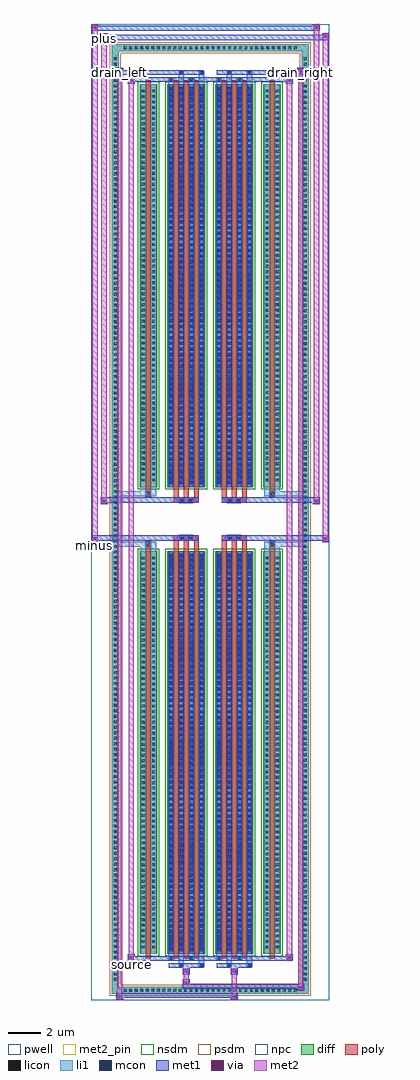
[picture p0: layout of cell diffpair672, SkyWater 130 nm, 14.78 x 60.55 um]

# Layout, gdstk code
import gdstk
lib = gdstk.Library(unit=1e-6, precision=5e-09)
def R(c, l, rs):  # rectangles x0, y0, x1, y1
    for r in rs: c.add(gdstk.rectangle(r[:2], r[2:], *l))
def A(c, l, x, y, w, h, nx, ny, dx, dy):  # array of equal rectangles
    R(c, l, [(x+i*dx, y+j*dy, x+i*dx+w, y+j*dy+h) for i in range(nx) for j in range(ny)])
def P(c, l, *ps):  # polygons
    for p in ps: c.add(gdstk.Polygon(p, *l))
pwell = (64, 44)
diff = (65, 20)
poly = (66, 20)
licon = (66, 44)
li1 = (67, 20)
mcon = (67, 44)
met1 = (68, 20)
via = (68, 44)
met2_pin = (69, 16)
met2 = (69, 20)
nsdm = (93, 44)
psdm = (94, 20)
npc = (95, 20)

diffpair672 = lib.new_cell('diffpair672')
R(diffpair672, pwell, [(-7.37,-29.84,7.37,30.71), (-4.69,-28.03,-0.01,-0.805), (0.01,-28.03,4.69,-0.805), (-4.69,0.805,-0.01,28.03), (0.01,0.805,4.69,28.03)])
A(diffpair672, diff, -5.475, -29.44, 0.41, 0.41, 32, 2, 0.34, 58.47)
A(diffpair672, diff, -6.1, -28.765, 0.41, 0.41, 1, 169, 0, 0.34)
A(diffpair672, diff, 5.69, -28.765, 0.41, 0.41, 1, 169, 0, 0.34)
R(diffpair672, diff, [(-5.475,-29.44,5.475,-29.03), (-6.1,-28.765,-5.69,28.765), (5.69,-28.765,6.1,28.765), (-4.38,-26.985,-3.3,-1.985), (-2.66,-26.985,-0.32,-1.985), (0.32,-26.985,2.66,-1.985), (3.3,-26.985,4.38,-1.985), (-4.38,1.985,-3.3,26.985), (-2.66,1.985,-0.32,26.985), (0.32,1.985,2.66,26.985), (3.3,1.985,4.38,26.985), (-5.475,29.03,5.475,29.44)])
P(diffpair672, diff, [(6.1,29.44),(-6.1,29.44),(-6.1,-29.03),(-5.69,-29.03),(-5.69,29.03),(5.69,29.03),(5.69,-29.03),(-5.69,-29.03),(-6.1,-29.03),(-6.1,-29.44),(6.1,-29.44)])
A(diffpair672, poly, -2.27, -27.235, 0.3, 25.5, 3, 2, 0.63, 28.97)
A(diffpair672, poly, 0.71, -27.235, 0.3, 25.5, 3, 2, 0.63, 28.97)
A(diffpair672, poly, -2.27, -1.735, 0.3, 0.4, 3, 2, 0.63, 3.07)
A(diffpair672, poly, 0.71, -1.735, 0.3, 0.4, 3, 2, 0.63, 3.07)
R(diffpair672, poly, [(-3.99,-27.235,-3.69,-1.735), (3.69,-27.235,3.99,-1.735), (-4.005,-1.735,-3.675,-1.405), (-4.005,-1.735,-3.675,-1.405), (3.675,-1.735,4.005,-1.405), (3.675,-1.735,4.005,-1.405), (-2.27,-1.335,-0.71,-1.005), (-1.905,-1.335,-1.575,-1.005), (-1.405,-1.335,-1.075,-1.005), (0.71,-1.335,2.27,-1.005), (1.075,-1.335,1.405,-1.005), (1.575,-1.335,1.905,-1.005), (-2.27,1.005,-0.71,1.335), (-1.905,1.005,-1.575,1.335), (-1.405,1.005,-1.075,1.335), (0.71,1.005,2.27,1.335), (1.075,1.005,1.405,1.335), (1.575,1.005,1.905,1.335), (-4.005,1.405,-3.675,1.735), (-4.005,1.405,-3.675,1.735), (3.675,1.405,4.005,1.735), (3.675,1.405,4.005,1.735), (-3.99,1.735,-3.69,27.235), (3.69,1.735,3.99,27.235)])
A(diffpair672, licon, -5.355, -29.32, 0.17, 0.17, 32, 2, 0.34, 58.47)
A(diffpair672, licon, -5.98, -28.645, 0.17, 0.17, 1, 169, 0, 0.34)
A(diffpair672, licon, 5.81, -28.645, 0.17, 0.17, 1, 169, 0, 0.34)
A(diffpair672, licon, -4.24, -26.64, 0.17, 0.17, 1, 72, 0, 0.34)
A(diffpair672, licon, -3.61, -26.64, 0.17, 0.17, 1, 72, 0, 0.34)
A(diffpair672, licon, -2.52, -26.64, 0.17, 0.17, 4, 72, 0.63, 0.34)
A(diffpair672, licon, 0.46, -26.64, 0.17, 0.17, 4, 72, 0.63, 0.34)
A(diffpair672, licon, 3.44, -26.64, 0.17, 0.17, 1, 72, 0, 0.34)
A(diffpair672, licon, 4.07, -26.64, 0.17, 0.17, 1, 72, 0, 0.34)
A(diffpair672, licon, -4.24, 2.33, 0.17, 0.17, 1, 72, 0, 0.34)
A(diffpair672, licon, -3.61, 2.33, 0.17, 0.17, 1, 72, 0, 0.34)
A(diffpair672, licon, -2.52, 2.33, 0.17, 0.17, 4, 72, 0.63, 0.34)
A(diffpair672, licon, 0.46, 2.33, 0.17, 0.17, 4, 72, 0.63, 0.34)
A(diffpair672, licon, 3.44, 2.33, 0.17, 0.17, 1, 72, 0, 0.34)
A(diffpair672, licon, 4.07, 2.33, 0.17, 0.17, 1, 72, 0, 0.34)
R(diffpair672, licon, [(-3.925,-1.655,-3.755,-1.485), (3.755,-1.655,3.925,-1.485), (-1.825,-1.255,-1.655,-1.085), (-1.325,-1.255,-1.155,-1.085), (1.155,-1.255,1.325,-1.085), (1.655,-1.255,1.825,-1.085), (-1.825,1.085,-1.655,1.255), (-1.325,1.085,-1.155,1.255), (1.155,1.085,1.325,1.255), (1.655,1.085,1.825,1.255), (-3.925,1.485,-3.755,1.655), (3.755,1.485,3.925,1.655)])
A(diffpair672, li1, -5.435, -29.4, 0.33, 0.33, 32, 2, 0.34, 58.47)
A(diffpair672, li1, -6.06, -28.725, 0.33, 0.33, 1, 169, 0, 0.34)
A(diffpair672, li1, 5.73, -28.725, 0.33, 0.33, 1, 169, 0, 0.34)
A(diffpair672, li1, -2.6, -26.985, 0.33, 25, 4, 2, 0.63, 28.97)
A(diffpair672, li1, 0.38, -26.985, 0.33, 25, 4, 2, 0.63, 28.97)
A(diffpair672, li1, -2.52, -26.81, 0.17, 0.17, 4, 69, 0.63, 0.36)
A(diffpair672, li1, -2.52, -26.81, 0.17, 24.65, 4, 2, 0.63, 28.97)
A(diffpair672, li1, 0.46, -26.81, 0.17, 0.17, 4, 69, 0.63, 0.36)
A(diffpair672, li1, 0.46, -26.81, 0.17, 24.65, 4, 2, 0.63, 28.97)
A(diffpair672, li1, -4.32, -26.72, 0.33, 0.33, 1, 72, 0, 0.34)
A(diffpair672, li1, -3.69, -26.72, 0.33, 0.33, 1, 72, 0, 0.34)
A(diffpair672, li1, -2.6, -26.72, 0.33, 0.33, 4, 72, 0.63, 0.34)
A(diffpair672, li1, 0.38, -26.72, 0.33, 0.33, 4, 72, 0.63, 0.34)
A(diffpair672, li1, 3.36, -26.72, 0.33, 0.33, 1, 72, 0, 0.34)
A(diffpair672, li1, 3.99, -26.72, 0.33, 0.33, 1, 72, 0, 0.34)
A(diffpair672, li1, -2.52, 2.16, 0.17, 0.17, 4, 69, 0.63, 0.36)
A(diffpair672, li1, 0.46, 2.16, 0.17, 0.17, 4, 69, 0.63, 0.36)
A(diffpair672, li1, -4.32, 2.25, 0.33, 0.33, 1, 72, 0, 0.34)
A(diffpair672, li1, -3.69, 2.25, 0.33, 0.33, 1, 72, 0, 0.34)
A(diffpair672, li1, -2.6, 2.25, 0.33, 0.33, 4, 72, 0.63, 0.34)
A(diffpair672, li1, 0.38, 2.25, 0.33, 0.33, 4, 72, 0.63, 0.34)
A(diffpair672, li1, 3.36, 2.25, 0.33, 0.33, 1, 72, 0, 0.34)
A(diffpair672, li1, 3.99, 2.25, 0.33, 0.33, 1, 72, 0, 0.34)
R(diffpair672, li1, [(-6.1,-29.44,-5.69,-29.03), (-6.1,-29.44,-5.69,-29.03), (-5.69,-29.44,5.69,-29.03), (5.69,-29.44,6.1,-29.03), (5.69,-29.44,6.1,-29.03), (-6.1,-29.03,-5.69,29.03), (5.69,-29.03,6.1,29.03), (-1.97,-27.79,-1.64,-26.985), (-1.89,-27.79,-1.72,-27.62), (-0.71,-27.79,-0.38,-26.985), (-0.63,-27.79,-0.46,-27.62), (1.01,-27.79,1.34,-26.985), (1.09,-27.79,1.26,-27.62), (2.27,-27.79,2.6,-26.985), (2.35,-27.79,2.52,-27.62), (-2.6,-27.36,-2.27,-26.985), (-2.52,-27.36,-2.35,-27.19), (-1.34,-27.36,-1.01,-26.985), (-1.26,-27.36,-1.09,-27.19), (0.38,-27.36,0.71,-26.985), (0.46,-27.36,0.63,-27.19), (1.64,-27.36,1.97,-26.985), (1.72,-27.36,1.89,-27.19), (-4.32,-26.985,-3.99,-1.985), (-3.69,-26.985,-3.36,-1.985), (3.36,-26.985,3.69,-1.985), (3.99,-26.985,4.32,-1.985), (-4.32,-1.985,-3.99,-1.405), (-3.69,-1.985,-3.36,-1.405), (3.36,-1.985,3.69,-1.405), (3.99,-1.985,4.32,-1.405), (-6.1,-1.735,-4.005,-1.405), (-4.32,-1.735,-4.005,-1.405), (-4.005,-1.735,-3.675,-1.405), (-3.675,-1.735,-3.36,-1.405), (3.36,-1.735,3.675,-1.405), (3.675,-1.735,4.005,-1.405), (3.675,-1.735,6.1,-1.405), (4.005,-1.735,4.32,-1.405), (-1.905,-1.335,-1.575,-1.005), (-1.405,-1.335,-1.075,-1.005), (1.075,-1.335,1.405,-1.005), (1.575,-1.335,1.905,-1.005), (-1.905,1.005,-1.575,1.335), (-1.405,1.005,-1.075,1.335), (1.075,1.005,1.405,1.335), (1.575,1.005,1.905,1.335), (-6.1,1.405,-4.005,1.735), (-4.32,1.405,-4.005,1.735), (-4.32,1.405,-3.99,1.985), (-4.005,1.405,-3.675,1.735), (-3.69,1.405,-3.36,1.985), (-3.675,1.405,-3.36,1.735), (3.36,1.405,3.675,1.735), (3.36,1.405,3.69,1.985), (3.675,1.405,4.005,1.735), (3.675,1.405,6.1,1.735), (3.99,1.405,4.32,1.985), (4.005,1.405,4.32,1.735), (-4.32,1.985,-3.99,26.985), (-3.69,1.985,-3.36,26.985), (3.36,1.985,3.69,26.985), (3.99,1.985,4.32,26.985), (-2.6,26.985,-2.27,27.36), (-1.97,26.985,-1.64,27.79), (-1.34,26.985,-1.01,27.36), (-0.71,26.985,-0.38,27.79), (0.38,26.985,0.71,27.36), (1.01,26.985,1.34,27.79), (1.64,26.985,1.97,27.36), (2.27,26.985,2.6,27.79), (-2.52,27.19,-2.35,27.36), (-1.26,27.19,-1.09,27.36), (0.46,27.19,0.63,27.36), (1.72,27.19,1.89,27.36), (-1.89,27.62,-1.72,27.79), (-0.63,27.62,-0.46,27.79), (1.09,27.62,1.26,27.79), (2.35,27.62,2.52,27.79), (-6.1,29.03,-5.69,29.44), (-6.1,29.03,-5.69,29.44), (-5.69,29.03,5.69,29.44), (5.69,29.03,6.1,29.44), (5.69,29.03,6.1,29.44)])
A(diffpair672, mcon, -2.52, -26.81, 0.17, 0.17, 4, 69, 0.63, 0.36)
A(diffpair672, mcon, 0.46, -26.81, 0.17, 0.17, 4, 69, 0.63, 0.36)
A(diffpair672, mcon, -2.52, 2.16, 0.17, 0.17, 4, 69, 0.63, 0.36)
A(diffpair672, mcon, 0.46, 2.16, 0.17, 0.17, 4, 69, 0.63, 0.36)
R(diffpair672, mcon, [(-1.89,-27.79,-1.72,-27.62), (-0.63,-27.79,-0.46,-27.62), (1.09,-27.79,1.26,-27.62), (2.35,-27.79,2.52,-27.62), (-2.52,-27.36,-2.35,-27.19), (-1.26,-27.36,-1.09,-27.19), (0.46,-27.36,0.63,-27.19), (1.72,-27.36,1.89,-27.19), (-1.825,-1.255,-1.655,-1.085), (-1.325,-1.255,-1.155,-1.085), (1.155,-1.255,1.325,-1.085), (1.655,-1.255,1.825,-1.085), (-1.825,1.085,-1.655,1.255), (-1.325,1.085,-1.155,1.255), (1.155,1.085,1.325,1.255), (1.655,1.085,1.825,1.255), (-2.52,27.19,-2.35,27.36), (-1.26,27.19,-1.09,27.36), (0.46,27.19,0.63,27.36), (1.72,27.19,1.89,27.36), (-1.89,27.62,-1.72,27.79), (-0.63,27.62,-0.46,27.79), (1.09,27.62,1.26,27.79), (2.35,27.62,2.52,27.79)])
A(diffpair672, met1, -2.58, -26.985, 0.29, 25, 4, 2, 0.63, 28.97)
A(diffpair672, met1, 0.4, -26.985, 0.29, 25, 4, 2, 0.63, 28.97)
A(diffpair672, met1, -2.58, -26.87, 0.29, 0.29, 4, 69, 0.63, 0.36)
A(diffpair672, met1, 0.4, -26.87, 0.29, 0.29, 4, 69, 0.63, 0.36)
A(diffpair672, met1, -2.58, 2.1, 0.29, 0.29, 4, 69, 0.63, 0.36)
A(diffpair672, met1, 0.4, 2.1, 0.29, 0.29, 4, 69, 0.63, 0.36)
R(diffpair672, met1, [(-5.83,-29.84,-5.4,-29.41), (1.275,-29.84,1.705,-29.41), (-5.83,-29.7,1.705,-29.41), (5.4,-29.27,5.83,-28.84), (-1.705,-29.13,5.83,-28.84), (-1.705,-28.99,-1.275,-28.56), (-1.705,-28.28,-1.275,-27.85), (1.275,-28.28,1.705,-27.85), (-2.58,-27.85,-0.4,-27.56), (-1.95,-27.85,-1.66,-27.56), (-0.69,-27.85,-0.4,-27.56), (0.4,-27.85,2.58,-27.56), (1.03,-27.85,1.32,-27.56), (2.29,-27.85,2.58,-27.56), (-5.12,-27.42,-4.69,-26.99), (-5.12,-27.42,-2.58,-27.13), (-2.58,-27.42,-2.29,-27.13), (-2.58,-27.42,-0.4,-27.13), (-1.32,-27.42,-1.03,-27.13), (-0.4,-27.42,0.4,-27.13), (0.4,-27.42,0.69,-27.13), (0.4,-27.42,2.58,-27.13), (1.66,-27.42,1.95,-27.13), (2.58,-27.42,5.12,-27.13), (4.69,-27.42,5.12,-26.99), (-7.37,-1.435,-6.94,-1.005), (6.94,-1.435,7.37,-1.005), (-7.37,-1.335,-0.71,-1.005), (-2.27,-1.335,-0.71,-1.005), (0.71,-1.335,2.27,-1.005), (0.71,-1.335,7.37,-1.005), (-1.885,-1.315,-1.595,-1.025), (-1.385,-1.315,-1.095,-1.025), (1.095,-1.315,1.385,-1.025), (1.595,-1.315,1.885,-1.025), (-6.8,0.905,-6.37,1.335), (6.37,0.905,6.8,1.335), (-6.8,1.005,-2.27,1.335), (-2.27,1.005,-0.71,1.335), (0.71,1.005,2.27,1.335), (2.27,1.005,6.8,1.335), (-1.885,1.025,-1.595,1.315), (-1.385,1.025,-1.095,1.315), (1.095,1.025,1.385,1.315), (1.595,1.025,1.885,1.315), (-5.12,26.99,-4.69,27.42), (4.69,26.99,5.12,27.42), (-5.12,27.13,-2.58,27.42), (-2.58,27.13,-2.29,27.42), (-2.58,27.13,-0.4,27.42), (-1.32,27.13,-1.03,27.42), (-0.4,27.13,0.4,27.42), (0.4,27.13,0.69,27.42), (0.4,27.13,2.58,27.42), (1.66,27.13,1.95,27.42), (2.58,27.13,5.12,27.42), (-5.83,27.56,-5.4,27.99), (-5.83,27.56,-2.58,27.85), (-2.58,27.56,-0.4,27.85), (-1.95,27.56,-1.66,27.85), (-0.69,27.56,-0.4,27.85), (0.4,27.56,2.58,27.85), (1.03,27.56,1.32,27.85), (2.29,27.56,2.58,27.85), (2.58,27.56,5.83,27.85), (5.4,27.56,5.83,27.99), (-6.8,29.71,-6.37,30.14), (-6.8,29.71,-4.69,30.04), (-4.69,29.71,4.69,30.04), (4.69,29.71,7.37,30.04), (6.94,29.71,7.37,30.14), (-7.37,30.28,-6.94,30.71), (-7.37,30.28,-4.69,30.61), (-4.69,30.28,4.69,30.61), (4.69,30.28,6.8,30.61), (6.37,30.28,6.8,30.71)])
R(diffpair672, via, [(-5.69,-29.7,-5.54,-29.55), (1.415,-29.7,1.565,-29.55), (5.54,-29.13,5.69,-28.98), (-1.565,-28.85,-1.415,-28.7), (-1.565,-28.14,-1.415,-27.99), (1.415,-28.14,1.565,-27.99), (-4.98,-27.28,-4.83,-27.13), (4.83,-27.28,4.98,-27.13), (-7.23,-1.295,-7.08,-1.145), (7.08,-1.295,7.23,-1.145), (-6.66,1.045,-6.51,1.195), (6.51,1.045,6.66,1.195), (-4.98,27.13,-4.83,27.28), (4.83,27.13,4.98,27.28), (-5.69,27.7,-5.54,27.85), (5.54,27.7,5.69,27.85), (-6.66,29.85,-6.51,30), (7.08,29.85,7.23,30), (-7.23,30.42,-7.08,30.57), (6.51,30.42,6.66,30.57)])
R(diffpair672, met2_pin, [(-5.155,-27.87,-4.655,-27.37), (-7.405,-1.885,-6.905,-1.385), (-5.865,27.44,-5.365,27.94), (5.365,27.44,5.865,27.94), (-6.835,29.59,-6.335,30.09)])
R(diffpair672, met2, [(-5.78,-29.79,-5.45,-29.46), (-5.78,-29.79,-5.45,27.94), (1.325,-29.79,1.655,-29.46), (1.325,-29.46,1.655,-28.23), (5.45,-29.22,5.78,-28.89), (5.45,-29.22,5.78,27.94), (-1.655,-28.94,-1.325,-28.61), (-1.655,-28.61,-1.325,-28.23), (-1.655,-28.23,-1.325,-27.9), (1.325,-28.23,1.655,-27.9), (-5.07,-27.37,-4.74,-27.04), (-5.07,-27.37,-4.74,27.37), (4.74,-27.37,5.07,-27.04), (4.74,-27.37,5.07,27.37), (-7.32,-1.385,-6.99,-1.055), (-7.32,-1.385,-6.99,30.66), (6.99,-1.385,7.32,-1.055), (6.99,-1.385,7.32,30.09), (-6.75,0.955,-6.42,1.285), (-6.75,0.955,-6.42,30.09), (6.42,0.955,6.75,1.285), (6.42,0.955,6.75,30.66), (-5.07,27.04,-4.74,27.37), (4.74,27.04,5.07,27.37), (-5.78,27.61,-5.45,27.94), (5.45,27.61,5.78,27.94), (-6.75,29.76,-6.42,30.09), (6.99,29.76,7.32,30.09), (-7.32,30.33,-6.99,30.66), (6.42,30.33,6.75,30.66)])
P(diffpair672, met2, [(7.32,-1.385),(7.32,-1.385),(7.32,-1.055),(7.32,-1.055)],
  [(7.32,29.76),(7.32,29.76),(7.32,30.09),(7.32,30.09)],
  [(-6.99,-1.385),(-6.99,-1.385),(-6.99,-1.055),(-6.99,-1.055)],
  [(-6.99,30.33),(-6.99,30.33),(-6.99,30.66),(-6.99,30.66)],
  [(6.75,0.955),(6.75,0.955),(6.75,1.285),(6.75,1.285)],
  [(6.75,30.33),(6.75,30.33),(6.75,30.66),(6.75,30.66)],
  [(-6.42,0.955),(-6.42,0.955),(-6.42,1.285),(-6.42,1.285)],
  [(-6.42,29.76),(-6.42,29.76),(-6.42,30.09),(-6.42,30.09)],
  [(-5.45,-29.79),(-5.45,-29.79),(-5.45,-29.46),(-5.45,-29.46)],
  [(-5.45,27.61),(-5.45,27.61),(-5.45,27.94),(-5.45,27.94)],
  [(5.78,-29.22),(5.78,-29.22),(5.78,-28.89),(5.78,-28.89)],
  [(5.78,27.61),(5.78,27.61),(5.78,27.94),(5.78,27.94)],
  [(-4.74,-27.37),(-4.74,-27.37),(-4.74,-27.04),(-4.74,-27.04)],
  [(-4.74,27.04),(-4.74,27.04),(-4.74,27.37),(-4.74,27.37)],
  [(5.07,-27.37),(5.07,-27.37),(5.07,-27.04),(5.07,-27.04)],
  [(5.07,27.04),(5.07,27.04),(5.07,27.37),(5.07,27.37)])
R(diffpair672, nsdm, [(-4.51,-27.115,-3.17,-1.855), (-2.79,-27.115,-0.19,-1.855), (0.19,-27.115,2.79,-1.855), (3.17,-27.115,4.51,-1.855), (-4.51,1.855,-3.17,27.115), (-2.79,1.855,-0.19,27.115), (0.19,1.855,2.79,27.115), (3.17,1.855,4.51,27.115)])
P(diffpair672, psdm, [(6.23,29.57),(-6.23,29.57),(-6.23,-28.9),(-5.56,-28.9),(-5.56,28.9),(5.56,28.9),(5.56,-28.9),(-5.56,-28.9),(-6.23,-28.9),(-6.23,-29.57),(6.23,-29.57)])
R(diffpair672, npc, [(-4.025,-1.755,-3.655,-1.385), (3.655,-1.755,4.025,-1.385), (-1.925,-1.355,-1.555,-0.985), (-1.925,-1.355,-1.055,-0.985), (-1.925,-1.355,-1.055,-0.985), (-1.425,-1.355,-1.055,-0.985), (1.055,-1.355,1.425,-0.985), (1.055,-1.355,1.925,-0.985), (1.055,-1.355,1.925,-0.985), (1.555,-1.355,1.925,-0.985), (-1.925,0.985,-1.555,1.355), (-1.925,0.985,-1.055,1.355), (-1.925,0.985,-1.055,1.355), (-1.425,0.985,-1.055,1.355), (1.055,0.985,1.425,1.355), (1.055,0.985,1.925,1.355), (1.055,0.985,1.925,1.355), (1.555,0.985,1.925,1.355), (-4.025,1.385,-3.655,1.755), (3.655,1.385,4.025,1.755)])
diffpair672.add(gdstk.Label('minus', (-7.155,-1.635), layer=69, texttype=5))
diffpair672.add(gdstk.Label('drain_right', (5.615,27.69), layer=69, texttype=5))
diffpair672.add(gdstk.Label('drain_left', (-5.615,27.69), layer=69, texttype=5))
diffpair672.add(gdstk.Label('source', (-4.905,-27.62), layer=69, texttype=5))
diffpair672.add(gdstk.Label('plus', (-6.585,29.84), layer=69, texttype=5))

lib.write_gds('diffpair672.gds')
